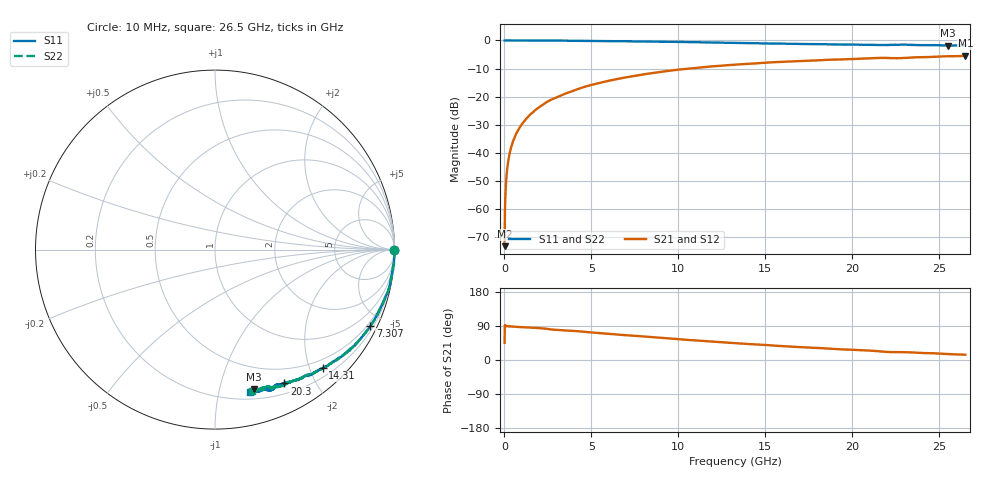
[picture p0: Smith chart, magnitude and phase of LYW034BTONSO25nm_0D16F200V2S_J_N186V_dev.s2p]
!Keysight Technologies,N5222B,MY61253708,A.15.00.15
!Date: Wednesday, June 19, 2024 10:34:48
!Correction: S11(C  2-Port  )
!S21(C  2-Port  )
!S12(C  2-Port  )
!S22(C  2-Port  )
!S2P File: Measurements: S11, S21, S12, S22:
# Hz S  RI  R 50
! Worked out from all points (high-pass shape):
!   2651 points, 10 MHz to 26.5 GHz, reference 50 ohm
!   highest |S21| = -5.46 dB at 26.5 GHz (marker M1); lowest = -73.4 dB at 10 MHz (marker M2)
!   |S21| within 3 dB of the highest: 13.6371 GHz to 13.66386 GHz (26.76 MHz wide, 0.196 % of centre); 13.69 GHz to end of sweep
!   lowest |S11| = -1.9 dB at 25.5 GHz (marker M3), VSWR 9.37, Z = 14.3 - j63.8 ohm
!   |S11| at or under -10 dB: nowhere
!   |S22| runs from -1.8 to 0.0 dB; largest |S21 - S12| = 0.0072
!   S11 on the Smith chart (normalised r, x): 10 MHz: open; 7.307 GHz: 0.35, -4.27; 14.31 GHz: 0.34, -2.21; 20.3 GHz: 0.32, -1.60; 26.5 GHz: 0.26, -1.24
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1e7  0.9984 -0.00305  0.000151 0.000153  0.000129 6.95e-05  0.9985 -0.00207
7.997358e7  1 -0.00562  1.18e-06 0.00257  1.5e-05 0.00257  0.9994 -0.00524
1.499472e8  1 -0.0106  4.1e-05 0.00486  4.23e-05 0.00486  0.9996 -0.01
1.799358e8  1 -0.0116  6.01e-05 0.00583  7.41e-05 0.00581  0.9996 -0.0112
2.29917e8  0.9997 -0.0155  0.000139 0.00744  0.000125 0.00745  0.9994 -0.0147
3.19883e8  0.9997 -0.021  0.000241 0.0103  0.000207 0.0104  0.9995 -0.02
4.398377e8  0.9991 -0.0295  0.000401 0.0142  0.000443 0.0142  0.9993 -0.0285
5.997774e8  0.9987 -0.0387  0.000778 0.0193  0.000707 0.0194  0.999 -0.0385
7.897057e8  0.9983 -0.0515  0.00127 0.0253  0.00129 0.0254  0.9978 -0.051
1.429464e9  0.9909 -0.0942  0.00306 0.0459  0.00313 0.0459  0.9938 -0.0912
2.319128e9  0.9827 -0.1479  0.00922 0.0754  0.00939 0.0755  0.984 -0.1484
3.208792e9  0.9728 -0.2034  0.0201 0.1016  0.0201 0.1017  0.9726 -0.2027
4.428332e9  0.9452 -0.2753  0.0366 0.1385  0.0367 0.1387  0.9469 -0.2726
7.307245e9  0.8648 -0.4259  0.0985 0.2062  0.0995 0.2063  0.8667 -0.4249
8.846664e9  0.811 -0.4955  0.1396 0.2332  0.1404 0.2331  0.8124 -0.4942
1.3255e10  0.6398 -0.6374  0.264 0.2595  0.2654 0.2588  0.6428 -0.6368
1.43146e10  0.6 -0.6614  0.291 0.2563  0.2918 0.2559  0.603 -0.6586
1.767333e10  0.4704 -0.7204  0.3696 0.2347  0.372 0.2329  0.4795 -0.7182
2.030234e10  0.3859 -0.7459  0.4202 0.2089  0.4227 0.2061  0.3986 -0.7467
2.209166e10  0.3356 -0.757  0.4533 0.1751  0.4541 0.1724  0.3281 -0.7631
2.550038e10  0.2158 -0.7777  0.5035 0.14  0.504 0.1399  0.2351 -0.7797
2.65e10  0.1964 -0.7926  0.5172 0.1292  0.5156 0.1255  0.2086 -0.7904
